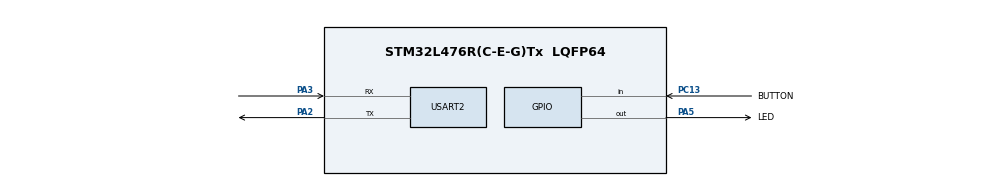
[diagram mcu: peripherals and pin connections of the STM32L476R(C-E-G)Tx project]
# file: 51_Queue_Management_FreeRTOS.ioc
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FREERTOS.Tasks01=defaultTask,0,128,StartDefaultTask,Default,NULL,Dynamic,NULL,NULL
Mcu.Family=STM32L4
Mcu.Name=STM32L476R(C-E-G)Tx
Mcu.Package=LQFP64
NVIC.PriorityGroup=NVIC_PRIORITYGROUP_4
NVIC.USART2_IRQn=true\:5\:0\:false\:false\:true\:true\:true\:true\:true
PA2.Mode=Asynchronous
PA2.Signal=USART2_TX
PA3.Mode=Asynchronous
PA3.Signal=USART2_RX
PA5.GPIO_Label=LED
PA5.PinState=GPIO_PIN_RESET
PA5.Signal=GPIO_Output
PC13.GPIO_Label=BUTTON
PC13.GPIO_PuPd=GPIO_PULLUP
PC13.Signal=GPIO_Input
ProjectManager.HeapSize=0x200
ProjectManager.StackSize=0x400
ProjectManager.TargetToolchain=STM32CubeIDE
RCC.HSE_VALUE=8000000
RCC.HSI_VALUE=16000000
RCC.LSE_VALUE=32768
RCC.MSI_VALUE=4000000
RCC.VCOOutputFreq_Value=32000000
USART2.VirtualMode-Asynchronous=VM_ASYNC
VP_FREERTOS_VS_CMSIS_V1.Mode=CMSIS_V1
board=custom

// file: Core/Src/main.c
/* USER CODE BEGIN Header */
/**
  ******************************************************************************
  * @file           : main.c
  * @brief          : Main program body
  ******************************************************************************
  * @attention
  *
  * Copyright (c) 2026 STMicroelectronics.
  * All rights reserved.
  *
  * This software is licensed under terms that can be found in the LICENSE file
  * in the root directory of this software component.
  * If no LICENSE file comes with this software, it is provided AS-IS.
  *
  ******************************************************************************
  */
/* USER CODE END Header */
#include "main.h"
#include "cmsis_os.h"

/* USER CODE BEGIN Includes */
#include<stdio.h>
/* USER CODE END Includes */

/* USER CODE BEGIN PTD */
typedef struct APP_CMD
{
	uint8_t COMMAND_NUM;
	uint8_t COMMAND_ARGS[10];
}APP_CMD_t;
/* USER CODE END PTD */

/* USER CODE BEGIN PD */
#define NOT_PRESSED 0
#define PRESSED 1
/* USER CODE END PD */

UART_HandleTypeDef huart2;

osThreadId defaultTaskHandle;
/* USER CODE BEGIN PV */

TaskHandle_t xTaskHandle1 = NULL;
TaskHandle_t xTaskHandle2 = NULL;
TaskHandle_t xTaskHandle3 = NULL;
TaskHandle_t xTaskHandle4 = NULL;

QueueHandle_t command_queue = NULL, uart_write_queue = NULL;

uint8_t usr_msg[250] = {0};
uint8_t command_buffer[20];
uint8_t command_len = 0;

/* USER CODE END PV */

void SystemClock_Config(void);
static void MX_GPIO_Init(void);
static void MX_USART2_UART_Init(void);
void StartDefaultTask(void const * argument);

/* USER CODE BEGIN PFP */
void vTask1_menu_display(void *params);
void vTask2_cmd_handling(void *params);
void vTask3_cmd_processing(void *params);
void vTask4_uart_write(void *params);
/* USER CODE END PFP */

/* USER CODE BEGIN 0 */
void vTask1_menu_display(void *params)
{
	HAL_UART_Receive_IT(&huart2, pData, Size);
	while(1)
	{

	}
}
void vTask2_cmd_handling(void *params)
{
	while(1)
	{

	}
}
void vTask3_cmd_processing(void *params)
{
	while(1)
	{

	}
}
void vTask4_uart_write(void *params)
{

	while(1)
	{

	}
}

/* USER CODE END 0 */

int main(void)
{

  /* MCU Configuration--------------------------------------------------------*/

  /* Reset of all peripherals, Initializes the Flash interface and the Systick. */
  HAL_Init();

  /* Configure the system clock */
  SystemClock_Config();

  /* Initialize all configured peripherals */
  MX_GPIO_Init();
  MX_USART2_UART_Init();
  /* USER CODE BEGIN 2 */
  printf("Testing the SVW...\n");

  /* USER CODE END 2 */

  /* USER CODE BEGIN RTOS_QUEUES */
  /* add queues, ... */

  //create command queue
  command_queue = xQueueCreate(10,sizeof(APP_CMD_t*));

  //create write queue
  uart_write_queue = xQueueCreate(10,sizeof(uint8_t*));

  if((command_queue != NULL) && (uart_write_queue != NULL))
  {
	  /* USER CODE BEGIN RTOS_THREADS */
	  /* add threads, ... */
	  //create menu task
	  xTaskCreate(vTask1_menu_display,
			  "Task1-MENU",
			  200,
			  NULL,
			  1,
			  &xTaskHandle1);

	  //create cmd handling task
	  xTaskCreate(vTask2_cmd_handling,
			  "Task2-CMD-HANDLING",
			  200,
			  NULL,
			  1,
			  &xTaskHandle2);

	  //create cmd processing task
	  xTaskCreate(vTask3_cmd_processing,
			  "Task2-CMD-PROCESS",
			  200,
			  NULL,
			  1,
			  &xTaskHandle2);

	  //create uart write task
	  xTaskCreate(vTask4_uart_write,
			  "Task2-UART-WRITE",
			  200,
			  NULL,
			  1,
			  &xTaskHandle2);
	  /* USER CODE END RTOS_THREADS */

	  /* Create the thread(s) */
	  /* definition and creation of defaultTask */
	  osThreadDef(defaultTask, StartDefaultTask, osPriorityNormal, 0, 128);
	  defaultTaskHandle = osThreadCreate(osThread(defaultTask), NULL);

	  /* USER CODE BEGIN RTOS_THREADS */
	  /* add threads, ... */

	  /* USER CODE END RTOS_THREADS */

	  /* Start scheduler */
	  osKernelStart();

  }
  else
  {
	  printf("Queue creation failed\r\n");
  }

  /* USER CODE END RTOS_QUEUES */

  /* Create the thread(s) */
  /* definition and creation of defaultTask */
  osThreadDef(defaultTask, StartDefaultTask, osPriorityNormal, 0, 128);
  defaultTaskHandle = osThreadCreate(osThread(defaultTask), NULL);

  /* USER CODE BEGIN RTOS_THREADS */
	  /* add threads, ... */
	  //create menu task
	  xTaskCreate(vTask1_menu_display,
			  "Task1-MENU",
			  200,
			  NULL,
			  1,
			  &xTaskHandle1);

	  //create cmd handling task
	  xTaskCreate(vTask2_cmd_handling,
			  "Task2-CMD-HANDLING",
			  200,
			  NULL,
			  1,
			  &xTaskHandle2);

	  //create cmd processing task
	  xTaskCreate(vTask3_cmd_processing,
			  "Task2-CMD-PROCESS",
			  200,
			  NULL,
			  1,
			  &xTaskHandle2);

	  //create uart write task
	  xTaskCreate(vTask4_uart_write,
			  "Task2-UART-WRITE",
			  200,
			  NULL,
			  1,
			  &xTaskHandle2);
  /* USER CODE END RTOS_THREADS */

  /* Start scheduler */
  osKernelStart();

  /* We should never get here as control is now taken by the scheduler */

  /* Infinite loop */
  while (1)
  {

  }
}

void SystemClock_Config(void)
{
  RCC_OscInitTypeDef RCC_OscInitStruct = {0};
  RCC_ClkInitTypeDef RCC_ClkInitStruct = {0};

  /** Configure the main internal regulator output voltage
  */
  if (HAL_PWREx_ControlVoltageScaling(PWR_REGULATOR_VOLTAGE_SCALE1) != HAL_OK)
  {
    Error_Handler();
  }

  /** Initializes the RCC Oscillators according to the specified parameters
  * in the RCC_OscInitTypeDef structure.
  */
  RCC_OscInitStruct.OscillatorType = RCC_OSCILLATORTYPE_MSI;
  RCC_OscInitStruct.MSIState = RCC_MSI_ON;
  RCC_OscInitStruct.MSICalibrationValue = 0;
  RCC_OscInitStruct.MSIClockRange = RCC_MSIRANGE_6;
  RCC_OscInitStruct.PLL.PLLState = RCC_PLL_NONE;
  if (HAL_RCC_OscConfig(&RCC_OscInitStruct) != HAL_OK)
  {
    Error_Handler();
  }

  /** Initializes the CPU, AHB and APB buses clocks
  */
  RCC_ClkInitStruct.ClockType = RCC_CLOCKTYPE_HCLK|RCC_CLOCKTYPE_SYSCLK
                              |RCC_CLOCKTYPE_PCLK1|RCC_CLOCKTYPE_PCLK2;
  RCC_ClkInitStruct.SYSCLKSource = RCC_SYSCLKSOURCE_MSI;
  RCC_ClkInitStruct.AHBCLKDivider = RCC_SYSCLK_DIV1;
  RCC_ClkInitStruct.APB1CLKDivider = RCC_HCLK_DIV1;
  RCC_ClkInitStruct.APB2CLKDivider = RCC_HCLK_DIV1;

  if (HAL_RCC_ClockConfig(&RCC_ClkInitStruct, FLASH_LATENCY_0) != HAL_OK)
  {
    Error_Handler();
  }
}

static void MX_USART2_UART_Init(void)
{

  huart2.Instance = USART2;
  huart2.Init.BaudRate = 115200;
  huart2.Init.WordLength = UART_WORDLENGTH_8B;
  huart2.Init.StopBits = UART_STOPBITS_1;
  huart2.Init.Parity = UART_PARITY_NONE;
  huart2.Init.Mode = UART_MODE_TX_RX;
  huart2.Init.HwFlowCtl = UART_HWCONTROL_NONE;
  huart2.Init.OverSampling = UART_OVERSAMPLING_16;
  huart2.Init.OneBitSampling = UART_ONE_BIT_SAMPLE_DISABLE;
  huart2.AdvancedInit.AdvFeatureInit = UART_ADVFEATURE_NO_INIT;
  if (HAL_UART_Init(&huart2) != HAL_OK)
  {
    Error_Handler();
  }

}

static void MX_GPIO_Init(void)
{
  GPIO_InitTypeDef GPIO_InitStruct = {0};

  /* GPIO Ports Clock Enable */
  __HAL_RCC_GPIOC_CLK_ENABLE();
  __HAL_RCC_GPIOA_CLK_ENABLE();

  /*Configure GPIO pin Output Level */
  HAL_GPIO_WritePin(LED_GPIO_Port, LED_Pin, GPIO_PIN_RESET);

  /*Configure GPIO pin : BUTTON_Pin */
  GPIO_InitStruct.Pin = BUTTON_Pin;
  GPIO_InitStruct.Mode = GPIO_MODE_INPUT;
  GPIO_InitStruct.Pull = GPIO_PULLUP;
  HAL_GPIO_Init(BUTTON_GPIO_Port, &GPIO_InitStruct);

  /*Configure GPIO pin : LED_Pin */
  GPIO_InitStruct.Pin = LED_Pin;
  GPIO_InitStruct.Mode = GPIO_MODE_OUTPUT_PP;
  GPIO_InitStruct.Pull = GPIO_NOPULL;
  GPIO_InitStruct.Speed = GPIO_SPEED_FREQ_LOW;
  HAL_GPIO_Init(LED_GPIO_Port, &GPIO_InitStruct);

}

void StartDefaultTask(void const * argument)
{
  for(;;)
  {
    osDelay(1);
  }
}

void Error_Handler(void)
{
  __disable_irq();
  while (1)
  {
  }
}
